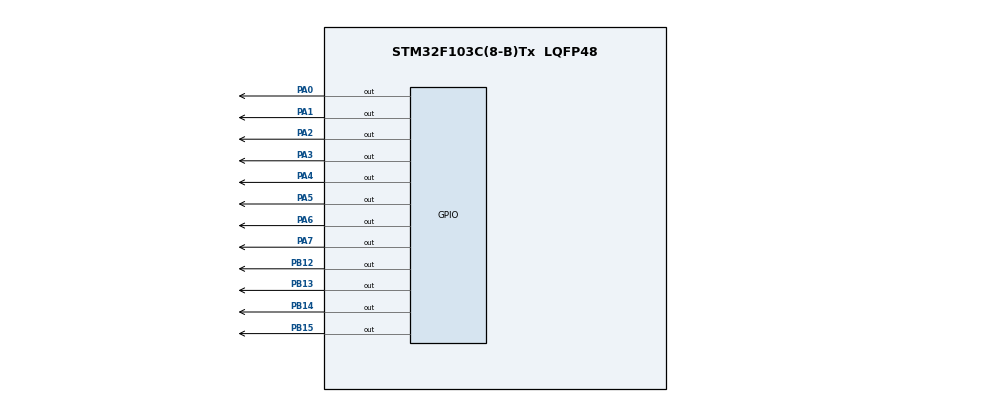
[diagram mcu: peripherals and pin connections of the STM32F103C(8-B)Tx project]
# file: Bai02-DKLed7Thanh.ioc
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Mcu.Family=STM32F1
Mcu.Name=STM32F103C(8-B)Tx
Mcu.Package=LQFP48
NVIC.PriorityGroup=NVIC_PRIORITYGROUP_4
PA0-WKUP.GPIO_ModeDefaultOutputPP=GPIO_MODE_OUTPUT_PP
PA0-WKUP.GPIO_Speed=GPIO_SPEED_FREQ_MEDIUM
PA0-WKUP.PinState=GPIO_PIN_SET
PA0-WKUP.Signal=GPIO_Output
PA1.GPIO_ModeDefaultOutputPP=GPIO_MODE_OUTPUT_PP
PA1.GPIO_Speed=GPIO_SPEED_FREQ_MEDIUM
PA1.PinState=GPIO_PIN_SET
PA1.Signal=GPIO_Output
PA13.Mode=Serial_Wire
PA13.Signal=SYS_JTMS-SWDIO
PA14.Mode=Serial_Wire
PA14.Signal=SYS_JTCK-SWCLK
PA2.GPIO_ModeDefaultOutputPP=GPIO_MODE_OUTPUT_PP
PA2.GPIO_Speed=GPIO_SPEED_FREQ_MEDIUM
PA2.PinState=GPIO_PIN_SET
PA2.Signal=GPIO_Output
PA3.GPIO_ModeDefaultOutputPP=GPIO_MODE_OUTPUT_PP
PA3.GPIO_Speed=GPIO_SPEED_FREQ_MEDIUM
PA3.PinState=GPIO_PIN_SET
PA3.Signal=GPIO_Output
PA4.GPIO_ModeDefaultOutputPP=GPIO_MODE_OUTPUT_PP
PA4.GPIO_Speed=GPIO_SPEED_FREQ_MEDIUM
PA4.PinState=GPIO_PIN_SET
PA4.Signal=GPIO_Output
PA5.GPIO_ModeDefaultOutputPP=GPIO_MODE_OUTPUT_PP
PA5.GPIO_Speed=GPIO_SPEED_FREQ_MEDIUM
PA5.PinState=GPIO_PIN_SET
PA5.Signal=GPIO_Output
PA6.GPIO_ModeDefaultOutputPP=GPIO_MODE_OUTPUT_PP
PA6.GPIO_Speed=GPIO_SPEED_FREQ_MEDIUM
PA6.PinState=GPIO_PIN_SET
PA6.Signal=GPIO_Output
PA7.GPIO_ModeDefaultOutputPP=GPIO_MODE_OUTPUT_PP
PA7.GPIO_Speed=GPIO_SPEED_FREQ_MEDIUM
PA7.PinState=GPIO_PIN_SET
PA7.Signal=GPIO_Output
PB12.GPIO_ModeDefaultOutputPP=GPIO_MODE_OUTPUT_PP
PB12.GPIO_Speed=GPIO_SPEED_FREQ_MEDIUM
PB12.PinState=GPIO_PIN_SET
PB12.Signal=GPIO_Output
PB13.GPIO_ModeDefaultOutputPP=GPIO_MODE_OUTPUT_PP
PB13.GPIO_Speed=GPIO_SPEED_FREQ_MEDIUM
PB13.PinState=GPIO_PIN_SET
PB13.Signal=GPIO_Output
PB14.GPIO_ModeDefaultOutputPP=GPIO_MODE_OUTPUT_PP
PB14.GPIO_Speed=GPIO_SPEED_FREQ_MEDIUM
PB14.PinState=GPIO_PIN_SET
PB14.Signal=GPIO_Output
PB15.GPIO_ModeDefaultOutputPP=GPIO_MODE_OUTPUT_PP
PB15.GPIO_Speed=GPIO_SPEED_FREQ_MEDIUM
PB15.PinState=GPIO_PIN_SET
PB15.Signal=GPIO_Output
PD0-OSC_IN.Mode=HSE-External-Oscillator
PD0-OSC_IN.Signal=RCC_OSC_IN
PD1-OSC_OUT.Mode=HSE-External-Oscillator
PD1-OSC_OUT.Signal=RCC_OSC_OUT
ProjectManager.HeapSize=0x200
ProjectManager.StackSize=0x400
ProjectManager.TargetToolchain=MDK-ARM V5
RCC.APB1Freq_Value=8000000
RCC.APB2Freq_Value=8000000
RCC.SYSCLKSource=RCC_SYSCLKSOURCE_HSE
board=Bai02-DKLed7Thanh

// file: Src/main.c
/**
  ******************************************************************************
  * File Name          : main.c
  * Description        : Main program body
  ******************************************************************************
  ** This notice applies to any and all portions of this file
  * that are not between comment pairs USER CODE BEGIN and
  * USER CODE END. Other portions of this file, whether
  * inserted by the user or by software development tools
  * are owned by their respective copyright owners.
  *
  * COPYRIGHT(c) 2017 STMicroelectronics
  *
  * Redistribution and use in source and binary forms, with or without modification,
  * are permitted provided that the following conditions are met:
  *   1. Redistributions of source code must retain the above copyright notice,
  *      this list of conditions and the following disclaimer.
  *   2. Redistributions in binary form must reproduce the above copyright notice,
  *      this list of conditions and the following disclaimer in the documentation
  *      and/or other materials provided with the distribution.
  *   3. Neither the name of STMicroelectronics nor the names of its contributors
  *      may be used to endorse or promote products derived from this software
  *      without specific prior written permission.
  *
  * THIS SOFTWARE IS PROVIDED BY THE COPYRIGHT HOLDERS AND CONTRIBUTORS "AS IS"
  * AND ANY EXPRESS OR IMPLIED WARRANTIES, INCLUDING, BUT NOT LIMITED TO, THE
  * IMPLIED WARRANTIES OF MERCHANTABILITY AND FITNESS FOR A PARTICULAR PURPOSE ARE
  * DISCLAIMED. IN NO EVENT SHALL THE COPYRIGHT HOLDER OR CONTRIBUTORS BE LIABLE
  * FOR ANY DIRECT, INDIRECT, INCIDENTAL, SPECIAL, EXEMPLARY, OR CONSEQUENTIAL
  * DAMAGES (INCLUDING, BUT NOT LIMITED TO, PROCUREMENT OF SUBSTITUTE GOODS OR
  * SERVICES; LOSS OF USE, DATA, OR PROFITS; OR BUSINESS INTERRUPTION) HOWEVER
  * CAUSED AND ON ANY THEORY OF LIABILITY, WHETHER IN CONTRACT, STRICT LIABILITY,
  * OR TORT (INCLUDING NEGLIGENCE OR OTHERWISE) ARISING IN ANY WAY OUT OF THE USE
  * OF THIS SOFTWARE, EVEN IF ADVISED OF THE POSSIBILITY OF SUCH DAMAGE.
  *
  ******************************************************************************
  */
#include "main.h"
#include "stm32f1xx_hal.h"

/* USER CODE BEGIN Includes */

// Khai bao phan cung

#define LED1	GPIO_PIN_12
#define LED2	GPIO_PIN_13
#define LED3	GPIO_PIN_14
#define LED4	GPIO_PIN_15

#define LED1_ON			HAL_GPIO_WritePin(GPIOB, LED1, GPIO_PIN_RESET)
#define LED2_ON			HAL_GPIO_WritePin(GPIOB, LED2, GPIO_PIN_RESET)
#define LED3_ON			HAL_GPIO_WritePin(GPIOB, LED3, GPIO_PIN_RESET)
#define LED4_ON			HAL_GPIO_WritePin(GPIOB, LED4, GPIO_PIN_RESET)

#define LED1_OFF		HAL_GPIO_WritePin(GPIOB, LED1, GPIO_PIN_SET)
#define LED2_OFF		HAL_GPIO_WritePin(GPIOB, LED2, GPIO_PIN_SET)
#define LED3_OFF		HAL_GPIO_WritePin(GPIOB, LED3, GPIO_PIN_SET)
#define LED4_OFF		HAL_GPIO_WritePin(GPIOB, LED4, GPIO_PIN_SET)

/* USER CODE END Includes */

/* USER CODE BEGIN PV */
/* Private variables ---------------------------------------------------------*/

unsigned int maLed[10] = {0xC0, 0xF9, 0xA4, 0xB0, 0x99, 0x92, 0x82, 0xF8, 0x80, 0x90};

/* USER CODE END PV */

void SystemClock_Config(void);
static void MX_GPIO_Init(void);

/* USER CODE BEGIN PFP */
/* Private function prototypes -----------------------------------------------*/

void hienThi(unsigned int so);

/* USER CODE END PFP */

/* USER CODE BEGIN 0 */

void hienThi(unsigned int so)
{
	unsigned char nghin, tram, chuc, donVi;

	// Tach so
	nghin = so/1000;
	tram 	= (so%1000)/100;
	chuc 	= ((so%1000)%100)/10;
	donVi	= ((so%1000)%100)%10;

	//Hien thi
	LED1_ON;	LED2_OFF;	LED3_OFF;	LED4_OFF;
	GPIOA ->ODR &= 0xFF00;
	GPIOA ->ODR |= maLed[nghin];
	HAL_Delay(10);

	LED1_OFF;	LED2_ON;	LED3_OFF;	LED4_OFF;
	GPIOA ->ODR &= 0xFF00;
	GPIOA ->ODR |= maLed[tram];
	HAL_Delay(10);

	LED1_OFF;	LED2_OFF;	LED3_ON;	LED4_OFF;
	GPIOA ->ODR &= 0xFF00;
	GPIOA ->ODR |= maLed[chuc];
	HAL_Delay(10);

	LED1_OFF;	LED2_OFF;	LED3_OFF;	LED4_ON;
	GPIOA ->ODR &= 0xFF00;
	GPIOA ->ODR |= maLed[donVi];
	HAL_Delay(10);
}

/* USER CODE END 0 */

int main(void)
{

	/* USER CODE BEGIN 1 */
	HAL_GPIO_WritePin(GPIOA,LED1,GPIO_PIN_RESET);

  /* USER CODE END 1 */

  /* MCU Configuration----------------------------------------------------------*/

  /* Reset of all peripherals, Initializes the Flash interface and the Systick. */
  HAL_Init();

  /* Configure the system clock */
  SystemClock_Config();

  /* Initialize all configured peripherals */
  MX_GPIO_Init();

  /* Infinite loop */
  /* USER CODE BEGIN WHILE */
  while (1)
  {
		hienThi(2576);
  /* USER CODE END WHILE */

  }

}

/** System Clock Configuration
*/
void SystemClock_Config(void)
{

  RCC_OscInitTypeDef RCC_OscInitStruct;
  RCC_ClkInitTypeDef RCC_ClkInitStruct;

    /**Initializes the CPU, AHB and APB busses clocks
    */
  RCC_OscInitStruct.OscillatorType = RCC_OSCILLATORTYPE_HSE;
  RCC_OscInitStruct.HSEState = RCC_HSE_ON;
  RCC_OscInitStruct.PLL.PLLState = RCC_PLL_NONE;
  if (HAL_RCC_OscConfig(&RCC_OscInitStruct) != HAL_OK)
  {
    _Error_Handler(__FILE__, __LINE__);
  }

    /**Initializes the CPU, AHB and APB busses clocks
    */
  RCC_ClkInitStruct.ClockType = RCC_CLOCKTYPE_HCLK|RCC_CLOCKTYPE_SYSCLK
                              |RCC_CLOCKTYPE_PCLK1|RCC_CLOCKTYPE_PCLK2;
  RCC_ClkInitStruct.SYSCLKSource = RCC_SYSCLKSOURCE_HSE;
  RCC_ClkInitStruct.AHBCLKDivider = RCC_SYSCLK_DIV1;
  RCC_ClkInitStruct.APB1CLKDivider = RCC_HCLK_DIV1;
  RCC_ClkInitStruct.APB2CLKDivider = RCC_HCLK_DIV1;

  if (HAL_RCC_ClockConfig(&RCC_ClkInitStruct, FLASH_LATENCY_0) != HAL_OK)
  {
    _Error_Handler(__FILE__, __LINE__);
  }

    /**Configure the Systick interrupt time
    */
  HAL_SYSTICK_Config(HAL_RCC_GetHCLKFreq()/1000);

    /**Configure the Systick
    */
  HAL_SYSTICK_CLKSourceConfig(SYSTICK_CLKSOURCE_HCLK);

  /* SysTick_IRQn interrupt configuration */
  HAL_NVIC_SetPriority(SysTick_IRQn, 0, 0);
}

/** Configure pins as
        * Analog
        * Input
        * Output
        * EVENT_OUT
        * EXTI
*/
static void MX_GPIO_Init(void)
{

  GPIO_InitTypeDef GPIO_InitStruct;

  /* GPIO Ports Clock Enable */
  __HAL_RCC_GPIOD_CLK_ENABLE();
  __HAL_RCC_GPIOA_CLK_ENABLE();
  __HAL_RCC_GPIOB_CLK_ENABLE();

  /*Configure GPIO pin Output Level */
  HAL_GPIO_WritePin(GPIOA, GPIO_PIN_0|GPIO_PIN_1|GPIO_PIN_2|GPIO_PIN_3
                          |GPIO_PIN_4|GPIO_PIN_5|GPIO_PIN_6|GPIO_PIN_7, GPIO_PIN_SET);

  /*Configure GPIO pin Output Level */
  HAL_GPIO_WritePin(GPIOB, GPIO_PIN_12|GPIO_PIN_13|GPIO_PIN_14|GPIO_PIN_15, GPIO_PIN_SET);

  /*Configure GPIO pins : PA0 PA1 PA2 PA3
                           PA4 PA5 PA6 PA7 */
  GPIO_InitStruct.Pin = GPIO_PIN_0|GPIO_PIN_1|GPIO_PIN_2|GPIO_PIN_3
                          |GPIO_PIN_4|GPIO_PIN_5|GPIO_PIN_6|GPIO_PIN_7;
  GPIO_InitStruct.Mode = GPIO_MODE_OUTPUT_PP;
  GPIO_InitStruct.Speed = GPIO_SPEED_FREQ_MEDIUM;
  HAL_GPIO_Init(GPIOA, &GPIO_InitStruct);

  /*Configure GPIO pins : PB12 PB13 PB14 PB15 */
  GPIO_InitStruct.Pin = GPIO_PIN_12|GPIO_PIN_13|GPIO_PIN_14|GPIO_PIN_15;
  GPIO_InitStruct.Mode = GPIO_MODE_OUTPUT_PP;
  GPIO_InitStruct.Speed = GPIO_SPEED_FREQ_MEDIUM;
  HAL_GPIO_Init(GPIOB, &GPIO_InitStruct);

}

void _Error_Handler(char * file, int line)
{
  while(1)
  {
  }
}

/************************ (C) COPYRIGHT STMicroelectronics *****END OF FILE****/
